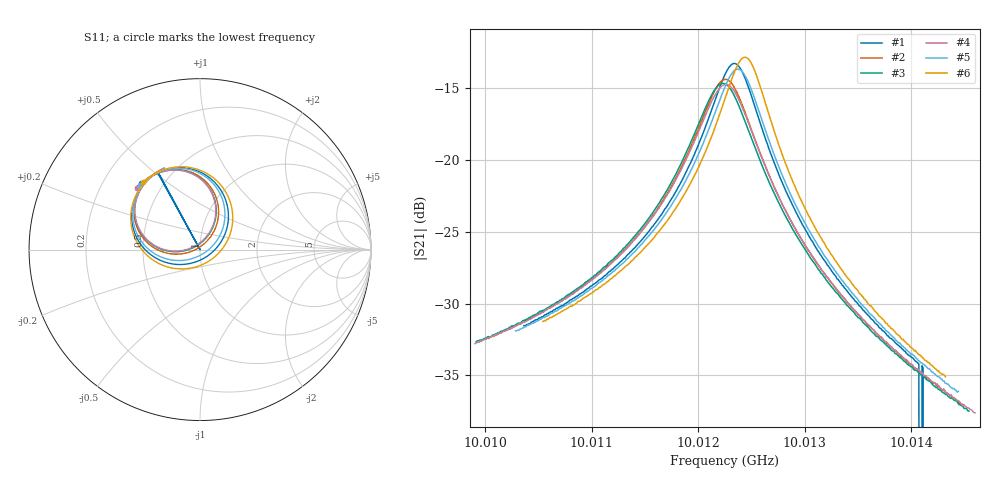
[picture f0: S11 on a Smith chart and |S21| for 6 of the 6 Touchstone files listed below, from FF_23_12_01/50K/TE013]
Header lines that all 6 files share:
#  HZ  S  RI  R  50.00
! Rohde & Schwarz Vector Network Analyzer
! Rohde-Schwarz,ZNB20-2Port,1311601062101988,3.16
! freq[Hz]  re:S11  im:S11  re:S21  im:S21  re:S12  im:S12  re:S22  im:S22
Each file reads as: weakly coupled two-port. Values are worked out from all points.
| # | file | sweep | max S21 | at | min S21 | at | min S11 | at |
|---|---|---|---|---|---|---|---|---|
| 1 | 42_3_48.1018_50.1207581_24248.463_.s2p | 10.01036 GHz to 10.01431 GHz | -13.28 dB | 10.01234 GHz | -34.5 dB | 10.01411 GHz | -25.1 dB | 10.01236 GHz |
| 2 | 73_3_48.0971_50.0871811_43302.629_.s2p | 10.01001 GHz to 10.01449 GHz | -14.39 dB | 10.01226 GHz | -37.1 dB | 10.01449 GHz | -36.0 dB | 10.01227 GHz |
| 3 | 83_3_48.1001_50.0785942_49302.027_.s2p | 10.00991 GHz to 10.01454 GHz | -14.67 dB | 10.01223 GHz | -37.5 dB | 10.01454 GHz | -30.5 dB | 10.01225 GHz |
| 4 | 218_3_48.0997_50.0920258_50405.449_.s2p | 10.0099 GHz to 10.0146 GHz | -14.74 dB | 10.01226 GHz | -37.6 dB | 10.0146 GHz | -29.6 dB | 10.01227 GHz |
| 5 | 253_3_48.1023_50.1357689_29253.771_.s2p | 10.01029 GHz to 10.01444 GHz | -13.67 dB | 10.01237 GHz | -36.2 dB | 10.01443 GHz | -30.4 dB | 10.01238 GHz |
| 6 | 273_3_48.1033_50.15485_17259.043_.s2p | 10.01054 GHz to 10.01432 GHz | -12.85 dB | 10.01244 GHz | -35.1 dB | 10.01432 GHz | -21.4 dB | 10.01245 GHz |
